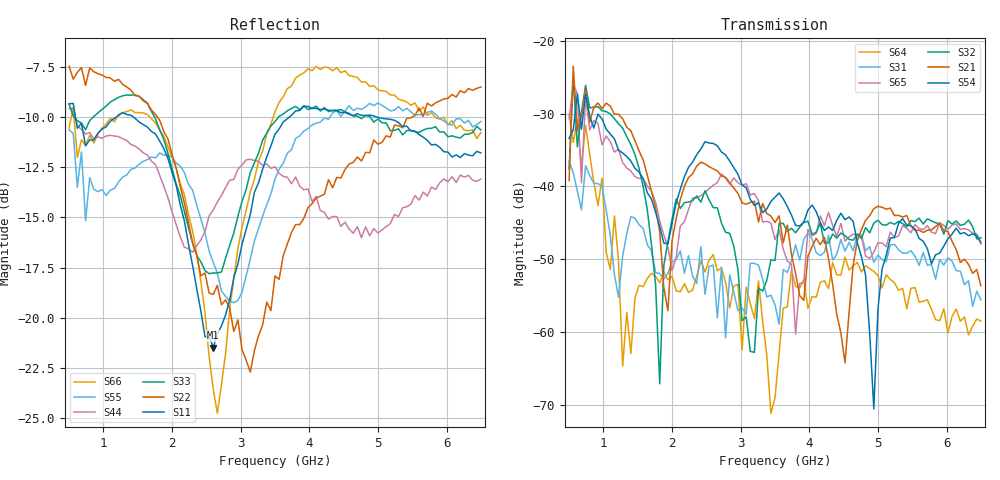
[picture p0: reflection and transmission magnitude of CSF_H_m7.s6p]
!Keysight Technologies,M9804A,MY58100912,A.14.10.03
!Date: Thursday, April 27, 2023 10:28:33
!Correction: S11(C  6-Port  )
!S12(C  6-Port  )
!S13(C  6-Port  )
!S14(C  6-Port  )
!S15(C  6-Port  )
!S16(C  6-Port  )
!S21(C  6-Port  )
!S22(C  6-Port  )
!S23(C  6-Port  )
!S24(C  6-Port  )
!S25(C  6-Port  )
!S26(C  6-Port  )
!S31(C  6-Port  )
!S32(C  6-Port  )
!S33(C  6-Port  )
!S34(C  6-Port  )
!S35(C  6-Port  )
!S36(C  6-Port  )
!S41(C  6-Port  )
!S42(C  6-Port  )
!S43(C  6-Port  )
!S44(C  6-Port  )
!S45(C  6-Port  )
!S46(C  6-Port  )
!S51(C  6-Port  )
!S52(C  6-Port  )
!S53(C  6-Port  )
!S54(C  6-Port  )
!S55(C  6-Port  )
!S56(C  6-Port  )
!S61(C  6-Port  )
!S62(C  6-Port  )
!S63(C  6-Port  )
!S64(C  6-Port  )
!S65(C  6-Port  )
!S66(C  6-Port  )
!S6P File: Measurement: :
# Hz S  RI  R 50
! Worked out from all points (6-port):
!   101 points, 500 MHz to 6.5 GHz, reference 50 ohm
!   strongest paths, dB at 500 MHz, 2 GHz, 3.5 GHz, 5 GHz, 6.5 GHz:
!     S54: -33.4, -45.1, -41.5, -56.9, -47.7
!     S21: -39.2, -47.5, -45.0, -42.7, -53.7
!     S32: -37.6, -44.5, -50.2, -44.7, -47.1
!     S65: -30.7, -51.6, -47.3, -47.8, -47.9
!     S31: -36.6, -50.4, -56.3, -49.4, -55.6
!     S64: -30.1, -52.3, -69.1, -52.2, -58.5
!   lowest |S11| = -21.5 dB at 2.6 GHz (marker M1), VSWR 1.18, Z = 42.5 + j2.12 ohm
!   |S11| at or under -10 dB: 592.3 MHz to 1.19 GHz (598.2 MHz wide, 67.1 % of centre); 1.431 GHz to 3.713 GHz (2.282 GHz wide, 88.7 % of centre); 4.973 GHz to end of sweep
